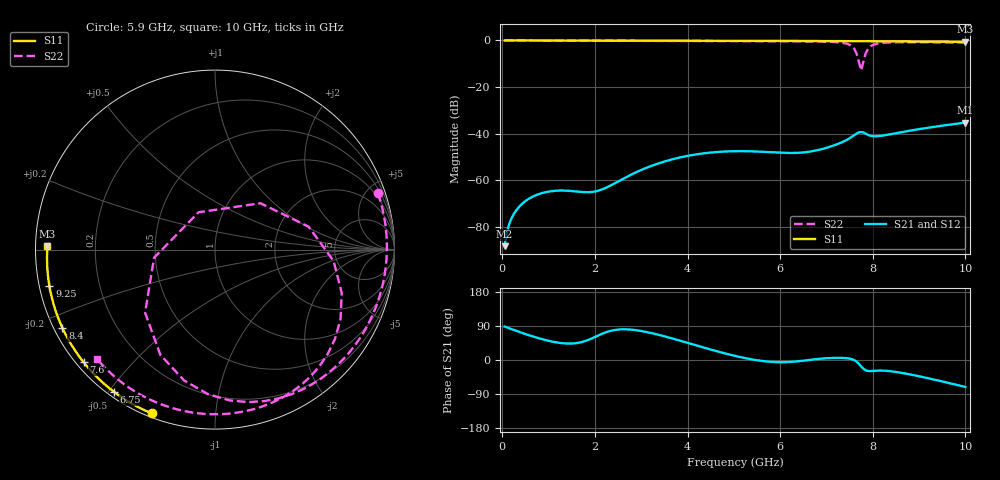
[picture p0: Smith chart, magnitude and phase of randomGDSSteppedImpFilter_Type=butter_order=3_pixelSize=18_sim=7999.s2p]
! freq	dB(S11)	phase(S11)	dB(S12)	phase(S12)
!  dB(S21)	phase(S21)	dB(S22)	phase(S22)
!S-par simulation data
#  GHz  S  DB  R 50
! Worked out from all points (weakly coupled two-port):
!   200 points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, 50 MHz to 10 GHz, reference 50 ohm
!   highest |S21| = -35.30 dB at 10 GHz (marker M1); lowest = -88.4 dB at 50 MHz (marker M2)
!   lowest |S11| = -0.6 dB at 10 GHz (marker M3), VSWR 29.19, Z = 1.71 + j0.526 ohm
!   |S11| at or under -10 dB: nowhere
!   |S22| runs from -12.9 to 0.0 dB; largest |S21 - S12| = 0
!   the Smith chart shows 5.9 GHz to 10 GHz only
!   S11 on the Smith chart (normalised r, x): 5.9 GHz: 0.02, -0.69; 6.75 GHz: 0.02, -0.52; 7.6 GHz: 0.02, -0.37; 8.4 GHz: 0.02, -0.24; 9.25 GHz: 0.03, -0.11; 10 GHz: 0.03, +0.01
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0.05  -0.01 -1.0  -88.41 88.3  -88.41 88.3  -0.01 -3.5
0.7  -0.02 -14.3  -66.71 60.7  -66.71 60.7  -0.06 -47.2
1.2  -0.03 -24.5  -64.55 45.9  -64.55 45.9  -0.09 -79.2
1.75  -0.05 -35.5  -65.15 48.5  -65.15 48.5  -0.13 -112.3
2.6  -0.07 -52.0  -59.53 81.0  -59.53 81.0  -0.17 -159.7
3.4  -0.09 -67.1  -52.66 65.7  -52.66 65.7  -0.20 157.4
4.3  -0.12 -83.5  -48.65 34.6  -48.65 34.6  -0.25 108.5
5.05  -0.15 -96.6  -47.59 10.1  -47.59 10.1  -0.29 66.6
5.9  -0.19 -111.1  -48.16 -5.5  -48.16 -5.5  -0.34 19.0
6.7  -0.24 -124.5  -47.58 1.2  -47.58 1.2  -0.45 -25.6
6.75  -0.25 -125.3  -47.39 1.9  -47.39 1.9  -0.46 -28.5
7.35  -0.29 -135.3  -43.61 5.4  -43.61 5.4  -1.03 -71.9
7.6  -0.32 -139.4  -40.71 -0.4  -40.71 -0.4  -3.60 -117.4
7.7  -0.33 -141.1  -39.48 -10.2  -39.48 -10.2  -9.32 -172.5
7.75  -0.33 -141.9  -39.30 -17.2  -39.30 -17.2  -12.87 113.8
7.8  -0.33 -142.8  -39.58 -23.5  -39.58 -23.5  -8.83 45.6
7.95  -0.35 -145.3  -40.96 -29.2  -40.96 -29.2  -2.54 -18.9
8.1  -0.36 -147.8  -41.16 -28.0  -41.16 -28.0  -1.34 -43.2
8.35  -0.39 -152.0  -40.42 -29.2  -40.42 -29.2  -0.87 -64.9
8.4  -0.39 -152.9  -40.23 -29.9  -40.23 -29.9  -0.83 -68.1
9.25  -0.49 -167.6  -37.35 -49.6  -37.35 -49.6  -0.79 -108.4
10  -0.60 178.8  -35.30 -71.3  -35.30 -71.3  -0.95 -137.4
